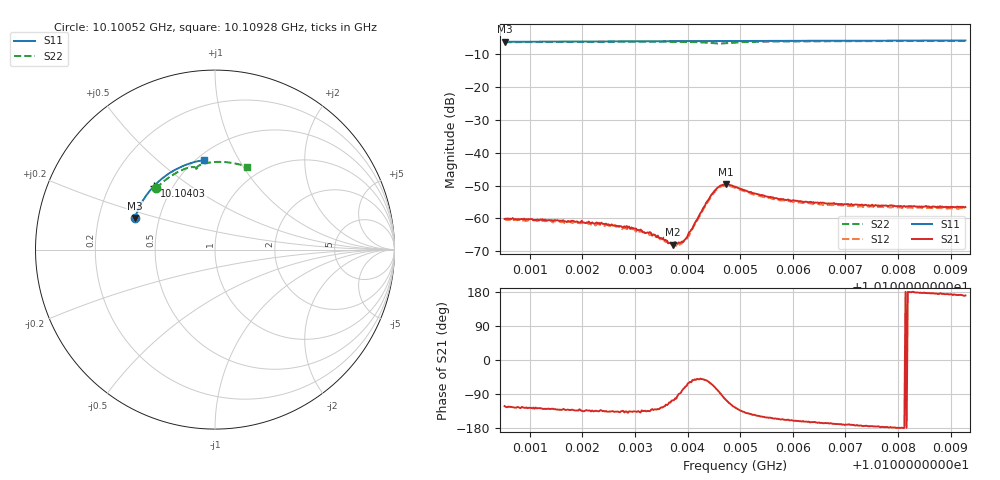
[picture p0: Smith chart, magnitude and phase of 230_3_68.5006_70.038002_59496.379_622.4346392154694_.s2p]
#  HZ  S  RI  R  50.00
! Rohde & Schwarz Vector Network Analyzer
! Rohde-Schwarz,ZNB20-2Port,1311601062101988,3.16
! Created: UTC 3/20/2024, 4:58:55 PM
! freq[Hz]  re:S11  im:S11  re:S21  im:S21  re:S12  im:S12  re:S22  im:S22
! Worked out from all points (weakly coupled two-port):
!   401 points, 10.10052 GHz to 10.10928 GHz, reference 50 ohm
!   highest |S21| = -49.68 dB at 10.10473 GHz (marker M1); lowest = -68.0 dB at 10.10372 GHz (marker M2)
!   lowest |S11| = -6.4 dB at 10.10052 GHz (marker M3), VSWR 2.85, Z = 18.1 + j8.29 ohm
!   |S11| at or under -10 dB: nowhere
!   |S22| runs from -6.9 to -6.1 dB; largest |S21 - S12| = 0.00032
!   S11 on the Smith chart (normalised r, x): 10.10052 GHz: 0.36, +0.17; 10.10403 GHz: 0.40, +0.37; 10.10928 GHz: 0.55, +0.73
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1.0100523e10  -0.4468 0.1762  -0.000518 -0.000839  -0.000478 -0.000866  -0.3275 0.341
1.010199e10  -0.4108 0.2579  -0.000642 -0.000661  -0.000537 -0.000677  -0.2554 0.4032
1.0102625e10  -0.3906 0.2909  -0.00057 -0.000545  -0.000493 -0.000579  -0.2202 0.4254
1.0102844e10  -0.3831 0.3018  -0.000552 -0.000533  -0.000453 -0.000522  -0.2075 0.4323
1.0103151e10  -0.372 0.3167  -0.000434 -0.000442  -0.000411 -0.000465  -0.1889 0.4413
1.0103457e10  -0.3604 0.3314  -0.000327 -0.000391  -0.000277 -0.000426  -0.1694 0.4495
1.0103676e10  -0.3517 0.3414  -0.000163 -0.000398  -0.000128 -0.000391  -0.1546 0.4544
1.010372e10  -0.35 0.3433  -0.000113 -0.000382  -8.47e-05 -0.0004  -0.1517 0.4553
1.0103807e10  -0.3463 0.3473  -3.69e-05 -0.000407  2.08e-05 -0.000412  -0.1454 0.4568
1.0103895e10  -0.3428 0.3512  7.03e-05 -0.000441  0.00012 -0.000401  -0.1391 0.4581
1.0103961e10  -0.34 0.3541  0.000167 -0.000459  0.000177 -0.000426  -0.1339 0.459
1.0104026e10  -0.3373 0.357  0.000304 -0.000533  0.000327 -0.000436  -0.1288 0.4596
1.0104333e10  -0.3241 0.3701  0.00095 -0.00126  0.00101 -0.00114  -0.1042 0.4553
1.0104486e10  -0.3172 0.3764  0.000951 -0.00227  0.00109 -0.00213  -0.0972 0.4465
1.0104596e10  -0.3124 0.3806  0.000353 -0.00301  0.000554 -0.00286  -0.099 0.4413
1.0104727e10  -0.3065 0.386  -0.000842 -0.00317  -0.000528 -0.00312  -0.1043 0.444
1.0104902e10  -0.2985 0.3929  -0.00174 -0.00249  -0.00151 -0.00253  -0.1022 0.4561
1.0105231e10  -0.2829 0.4053  -0.00198 -0.00142  -0.00178 -0.00156  -0.0819 0.472
1.0105515e10  -0.2691 0.4156  -0.00189 -0.00102  -0.00176 -0.00114  -0.0621 0.4792
1.0106369e10  -0.2254 0.4432  -0.00168 -0.000478  -0.00155 -0.000612  -0.00449 0.4879
1.0107836e10  -0.1441 0.4788  -0.00157 -5.25e-05  -0.00145 -0.000211  0.0906 0.4835
1.0109281e10  -0.0592 0.499  -0.00147 0.00025  -0.00142 6.79e-05  0.1801 0.4609
